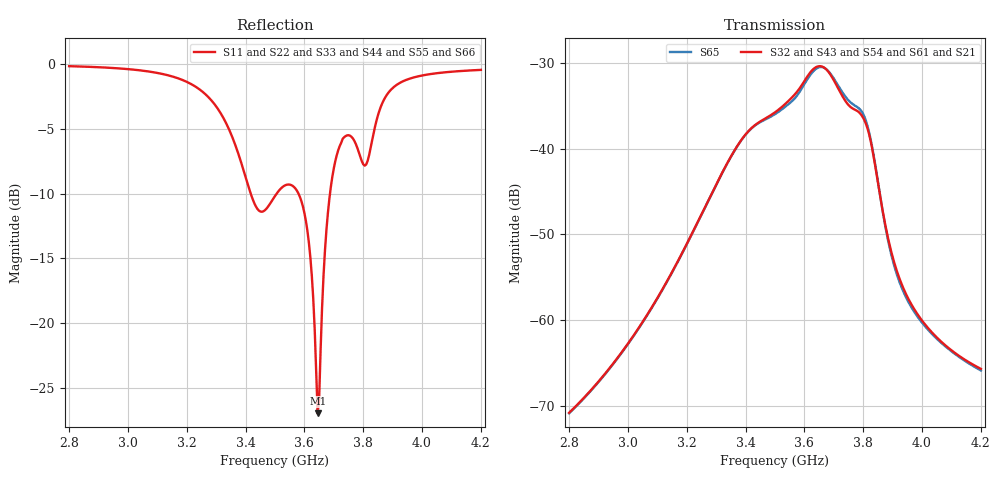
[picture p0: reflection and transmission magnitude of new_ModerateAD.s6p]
! Touchstone file exported from HFSS 2024.2.0
!  File:  D:/Jatin/new.aedt
!  Generated:  04:50:24 PM Sep 30, 2026
!  Design:  ModerateAD
!  Project:  new
!  Setup:  Setup1
!  Solution:  Sweep
! Variables:
!  $L = 85mm
!  $W = 35mm
!  H = 1.575mm
!  L = 42mm
!  W = 35mm
!  Wb = 6mm
!  a = 3.5mm
!  ant_dist = 115mm
!  ant_gap = 3mm
!  b = 5mm
!  c = 5mm
!  d = 2mm
!  g1 = 2mm
!  g2 = 2mm
!  g3 = 1mm
!  g4 = 2mm
!  gap = 10mm
!  r1 = 3.5mm
!  r2 = 6mm
!  r_brain = 95mm
!  r_brain_ad = 61.68mm
!  r_csf = 95.5mm
!  r_csf_expanded = 64.6mm
!  r_csf_inner = 61.68mm
!  r_csf_outer = 83.5mm
!  r_fat = 87.5mm
!  r_gray = 70.55mm
!  r_gray_moderate = 66.05mm
!  r_hippo_moderate = 12.5mm
!  r_skin = 88mm
!  r_skull = 86.5mm
!  r_white = 17.5mm
!  r_white_moderate = 60.8mm
!  slot_distance = 15mm
!  wc = 12mm
!  y1 = 15mm
!  y2 = 5mm
!  y4 = 11mm
!  z_ebg = -94.575mm
! Terminal data exported
! Port[1] = FEED_3_T4
! Port[2] = FEED_3_T3
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# GHz S MA R 50.000000
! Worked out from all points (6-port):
!   281 points, 2.8 GHz to 4.2 GHz, reference 50 ohm
!   strongest paths, dB at 2.8 GHz, 3.15 GHz, 3.5 GHz, 3.85 GHz, 4.2 GHz:
!     S32: -70.8, -54.4, -35.8, -44.0, -65.7
!     S43: -70.9, -54.5, -35.6, -43.8, -65.6
!     S65: -70.9, -54.4, -36.0, -43.9, -65.9
!     S54: -70.8, -54.6, -35.8, -44.1, -65.7
!     S61: -70.8, -54.5, -35.6, -44.1, -65.7
!     S21: -70.9, -54.6, -35.8, -44.0, -65.7
!   lowest |S11| = -27.0 dB at 3.645 GHz (marker M1), VSWR 1.09, Z = 46.1 - j1.94 ohm
!   |S11| at or under -10 dB: 3.417 GHz to 3.506 GHz (88.45 MHz wide, 2.56 % of centre); 3.58 GHz to 3.687 GHz (107.3 MHz wide, 2.95 % of centre)
